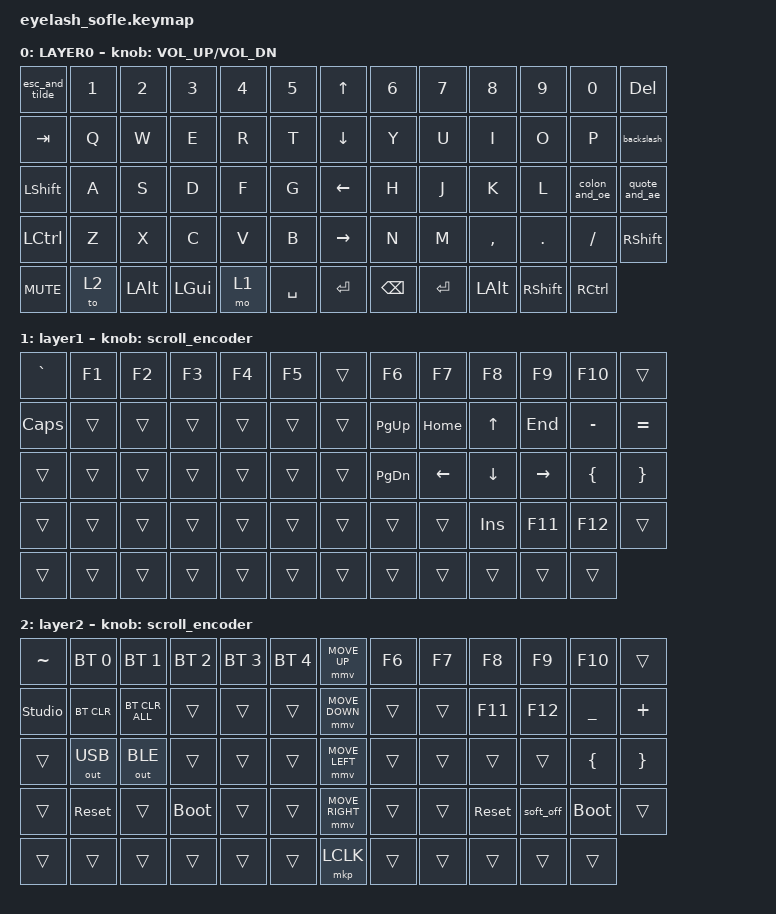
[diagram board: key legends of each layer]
/*
 * Copyright (c) 2020 The ZMK Contributors
 *
 * SPDX-License-Identifier: MIT
 */

#include <dt-bindings/zmk/mouse.h>
#include <input/processors.dtsi>
#include <behaviors.dtsi>
#include <dt-bindings/zmk/bt.h>
#include <dt-bindings/zmk/keys.h>
#include <dt-bindings/zmk/outputs.h>
#include <dt-bindings/zmk/pointing.h>

#define ZMK_MOUSE_DEFAULT_MOVE_VAL 1200  // 600
#define ZMK_MOUSE_DEFAULT_SCRL_VAL 20    // 10

/ {
    behaviors {
        mmv {
            acceleration-exponent = <1>;     // 1
            time-to-max-speed-ms = <900>;  // 40
            delay-ms = <0>;                  // 0
        };

        msc {
            acceleration-exponent = <1>;     // 0
            time-to-max-speed-ms = <400>;    // 500
            delay-ms = <0>;                  // 10
        };

        // Your custom grave/escape key

        backslash: backslash {
            compatible = "zmk,behavior-mod-morph";
            label = "BACKSLASH";
            bindings = <&kp BACKSLASH>, <&kp RA(LBKT)>;

            #binding-cells = <0>;
            mods = <(MOD_RALT|MOD_LALT)>;
            keep-mods = <(MOD_RALT)>;
        };

        colon_and_oe: colon_and_oe {
            compatible = "zmk,behavior-mod-morph";
            label = "COLON_AND_OE";
            bindings = <&kp SEMICOLON>, <&kp RA(SEMICOLON)>;

            #binding-cells = <0>;
            keep-mods = <(MOD_RALT)>;
            mods = <(MOD_RALT|MOD_LALT)>;
        };

        quote_and_ae: quote_and_ae {
            compatible = "zmk,behavior-mod-morph";
            label = "QUOTE_AND_AE";
            bindings = <&kp SQT>, <&kp RA(SQT)>;

            #binding-cells = <0>;
            mods = <(MOD_LALT|MOD_RALT)>;
            keep-mods = <(MOD_RALT)>;
        };

        esc_and_tilde: esc_and_tilde {
            compatible = "zmk,behavior-mod-morph";
            label = "ESC_AND_TILDE";
            bindings = <&kp ESCAPE>, <&kp TILDE>;

            #binding-cells = <0>;
            mods = <(MOD_LALT)>;
        };

        // We deleted the bslh_or_a_ring behavior because we're using key-overrides
    };

    scroll_encoder: scroll_encoder {
        compatible = "zmk,behavior-sensor-rotate";
        #sensor-binding-cells = <0>;
        bindings = <&msc SCRL_DOWN>, <&msc SCRL_UP>;

        tap-ms = <30>;
    };

    keymap {
        compatible = "zmk,keymap";

        // --- THIS IS YOUR NEW layer0 (FROM IMAGE 1) ---

        layer0 {
            bindings = <
&esc_and_tilde  &kp N1  &kp N2    &kp N3        &kp N4  &kp N5       &kp UP_ARROW     &kp N6         &kp N7     &kp N8        &kp N9     &kp N0         &kp DELETE
&kp TAB         &kp Q   &kp W     &kp E         &kp R   &kp T        &kp DOWN_ARROW   &kp Y          &kp U      &kp I         &kp O      &kp P          &backslash
&kp LSHFT       &kp A   &kp S     &kp D         &kp F   &kp G        &kp LEFT_ARROW   &kp H          &kp J      &kp K         &kp L      &colon_and_oe  &quote_and_ae
&kp LCTRL       &kp Z   &kp X     &kp C         &kp V   &kp B        &kp RIGHT_ARROW  &kp N          &kp M      &kp COMMA     &kp DOT    &kp FSLH       &kp RSHFT
&kp K_MUTE      &to 2   &kp LALT  &kp LEFT_GUI  &mo 1   &kp SPACE    &kp ENTER        &kp BACKSPACE  &kp ENTER  &kp LEFT_ALT  &kp RSHFT  &kp RCTRL
            >;

            // --- THIS IS THE OLD, WORKING ENCODER SYNTAX ---

            sensor-bindings = <&inc_dec_kp C_VOLUME_UP C_VOL_DN>;
            display-name = "LAYER0";
        };

        // --- THIS IS YOUR NEW layer_1 (FROM IMAGE 2, WITH TRANSPARENT KEYS) ---

        layer_1 {
            bindings = <
&kp GRAVE  &kp F1  &kp F2  &kp F3  &kp F4  &kp F5    &trans  &kp F6     &kp F7    &kp F8        &kp F9     &kp F10         &trans
&kp CAPS   &trans  &trans  &trans  &trans  &trans    &trans  &kp PG_UP  &kp HOME  &kp UP_ARROW  &kp END    &kp MINUS       &kp EQUAL
&trans     &trans  &trans  &trans  &trans  &trans    &trans  &kp PG_DN  &kp LEFT  &kp DOWN      &kp RIGHT  &kp LEFT_BRACE  &kp RIGHT_BRACE
&trans     &trans  &trans  &trans  &trans  &trans    &trans  &trans     &trans    &kp INS       &kp F11    &kp F12         &trans
&trans     &trans  &trans  &trans  &trans  &trans    &trans  &trans     &trans    &trans        &trans     &trans
            >;

            display-name = "layer1";
            sensor-bindings = <&scroll_encoder>;
        };

        // --- THIS IS YOUR ORIGINAL layer_2 (SYSTEM LAYER) ---

        layer_2 {
            bindings = <
&kp TILDE       &bt BT_SEL 0  &bt BT_SEL 1    &bt BT_SEL 2  &bt BT_SEL 3  &bt BT_SEL 4    &mmv MOVE_UP     &kp F6  &kp F7  &kp F8      &kp F9     &kp F10      &trans
&studio_unlock  &bt BT_CLR    &bt BT_CLR_ALL  &trans        &trans        &trans          &mmv MOVE_DOWN   &trans  &trans  &kp F11     &kp F12    &kp UNDER    &kp PLUS
&trans          &out OUT_USB  &out OUT_BLE    &trans        &trans        &trans          &mmv MOVE_LEFT   &trans  &trans  &trans      &trans     &kp LBRC     &kp RBRC
&trans          &sys_reset    &trans          &bootloader   &trans        &trans          &mmv MOVE_RIGHT  &trans  &trans  &sys_reset  &soft_off  &bootloader  &trans
&trans          &trans        &trans          &trans        &trans        &trans          &mkp LCLK        &trans  &trans  &trans      &trans     &trans
            >;

            display-name = "layer2";
            sensor-bindings = <&scroll_encoder>;
        };
    };
};
